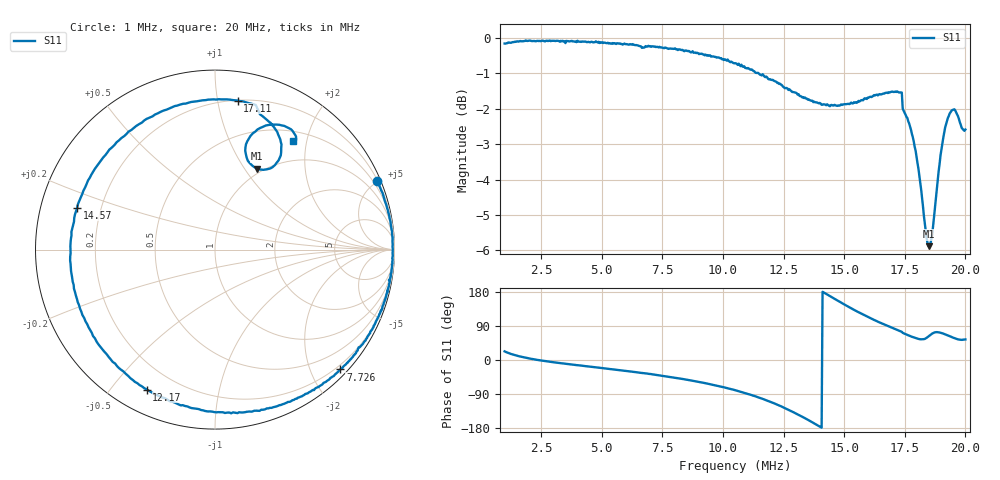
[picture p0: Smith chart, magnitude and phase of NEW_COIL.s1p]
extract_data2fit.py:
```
import numpy as np
import pandas as pd
import matplotlib.pyplot as plt

# --- Parameters ---
Z0 = 50  # Characteristic impedance in Ohms
filename = "C:\Users\verma\Downloads\NEW_COIL.s1p"  # Replace with your file path
skip_header = 12  # Adjust depending on your file
output_excel = "calculated_impedance.xlsx"

# --- Load and parse data ---
data = np.loadtxt(filename, skiprows=skip_header)
frequency = data[:, 0]
mag_dB = data[:, 1]
angle_deg = data[:, 2]

# --- Convert to complex reflection coefficient ---
mag_lin = 10**(mag_dB / 20)
angle_rad = np.radians(angle_deg)
gamma = mag_lin * np.exp(1j * angle_rad)

# --- Calculate impedance ---
Z = Z0 * (1 + gamma) / (1 - gamma)
real_Z = np.real(Z)
imag_Z = np.imag(Z)

# --- Export to Excel ---
df = pd.DataFrame({
    'FREQUENCY(Hz)': frequency,
    'R': real_Z,
    'L': imag_Z
})

df.to_excel(output_excel, index=False, engine='openpyxl')
print(f"Impedance data exported to '{output_excel}'")

# --- Plot impedance ---
plt.figure(figsize=(10, 5))
plt.plot(frequency / 1e6, real_Z, label='Real(Z)')
plt.plot(frequency / 1e6, imag_Z, label='Imag(Z)')
plt.xlabel("Frequency [MHz]")
plt.ylabel("Impedance [Ohm]")
plt.title("Load Impedance from Reflection Coefficient")
plt.grid(True)
plt.legend()
plt.tight_layout()
plt.show()
```
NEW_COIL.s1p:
!Keysight Technologies N9918A: A.12.56
!Date: Thursday, 10 July 2025 06:22:01
!TimeZone: (UTC-08:00) Pacific Time (US & Canada)!Model: N9918A
!Serial: MY56072139
!GPS Latitude:
!GPS Longitude:
!GPS TimeStamp: 0001-01-01 00:00:00Z
!GPS Seconds Since Last Read: 0
!CHECKSUM:0474896419
!Correction: S11(ON U)
!S1P File: Measurement: S11:
# Hz S DB R 50
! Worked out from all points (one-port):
!   501 points, 1 MHz to 20 MHz, reference 50 ohm
!   lowest |S11| = -5.9 dB at 18.48 MHz (marker M1), VSWR 3.07, Z = 47.1 + j57.2 ohm
!   |S11| at or under -10 dB: nowhere
!   S11 on the Smith chart (normalised r, x): 1 MHz: 0.23, +4.95; 7.726 MHz: 0.12, -2.49; 12.17 MHz: 0.10, -0.62; 14.57 MHz: 0.11, +0.15; 17.11 MHz: 0.20, +1.14; 20 MHz: 0.66, +1.76
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1000000  -0.16 22.8
2824000  -0.08 -4.3
7346000  -0.27 -40.3
7726000  -0.30 -43.7
1.0576e7  -0.73 -80.9
1.2172e7  -1.24 -116.0
1.3692e7  -1.77 -164.6
1.4566e7  -1.91 163.0
1.582e7  -1.72 118.7
1.7112e7  -1.51 81.3
1.791e7  -3.08 58.5
1.848e7  -5.88 62.4
1.9202e7  -2.44 66.9
2e7  -2.59 54.3
